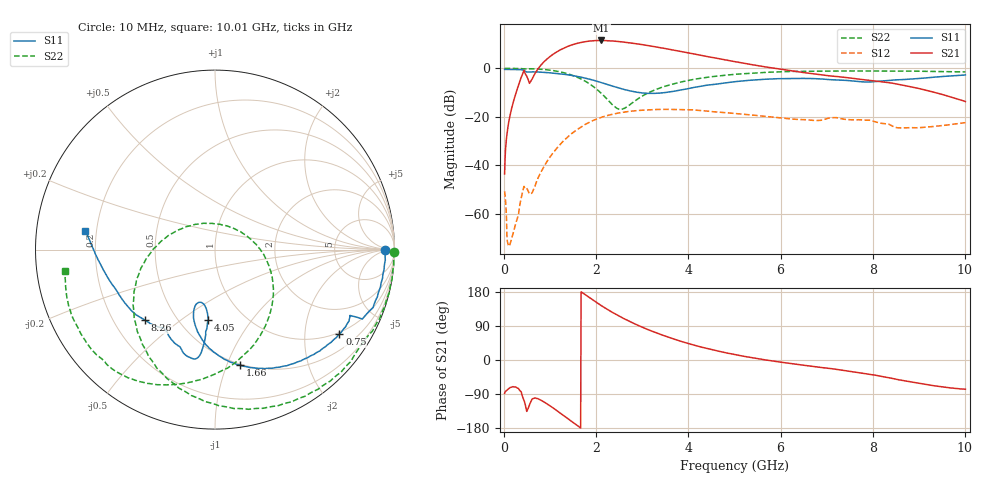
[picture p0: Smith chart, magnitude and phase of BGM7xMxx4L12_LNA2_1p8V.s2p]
! (c) 2014 Infineon Technologies AG
! BGM7xMxx4L12 - Silicon Germanium Quad-Band LTE LNA bank
! 20 May 2014
! Special Application Board
! C1 = L1 = 0 Ohm
! C2 = 100 nF
! Vcc = 1.8V
! RF input and output lines de-embedded
! Port 1 reference plane: LNA input AI (pin 9)
! Port 2 reference plane: LNA output AO (pin 6)
! Network Data:
! Measured BGM7xMxx4L12 device level s-parameters
# GHz S MA R 50
!Freq  MagS11  AngS11  MagS21  AngS21  MagS12  AngS12  MagS22  AngS22
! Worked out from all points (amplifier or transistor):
!   1001 points, 10 MHz to 10.01 GHz, reference 50 ohm
!   highest |S21| = 11.5 dB at 2.11 GHz (marker M1)
!   |S21| within 3 dB of that: 1.313 GHz to 3.394 GHz (2.082 GHz wide, 88.5 % of centre)
!   unconditionally stable (mu >= 1): start of sweep to 126.7 MHz; 133.4 MHz to 186.9 MHz; 192.4 MHz to end of sweep
!   at 1.67 GHz: K = 1.36, MAG = 13.8 dB, |S12| = -24.1 dB
!   at 5.01 GHz: K = 1.27, MAG = 7.6 dB, |S12| = -18.6 dB
!   at 10.01 GHz: K = 3.76, MAG = -4.3 dB, |S12| = -22.4 dB
!   lowest NFmin = 0.66 dB at 2.05 GHz
!   S11 on the Smith chart (normalised r, x): 10 MHz: 39, -3; 750 MHz: 0.95, -2.99; 1.66 GHz: 0.49, -1.12; 4.05 GHz: 0.69, -0.63; 8.26 GHz: 0.33, -0.38; 10.01 GHz: 0.16, +0.07
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0.01  0.9497 -0.2  0.006658 -88.2  0.00294 -60.6  0.9986 -0.7
0.12  0.9478 -6.1  0.0978 -73.5  0.0002255 136.9  0.9986 -8.7
0.39  0.9252 -21.8  0.7196 -93.2  0.002589 -166.4  0.9811 -28.6
0.55  0.8393 -26.0  0.4904 -118.2  0.002578 154.6  0.9809 -39.4
0.75  0.8376 -34.1  1.019 -103.3  0.005903 -164.9  0.9617 -55.2
1.01  0.8047 -45.8  1.791 -122.2  0.01563 -171.9  0.9118 -76.4
1.22  0.7695 -55.7  2.405 -140.2  0.02737 177.0  0.8429 -94.6
1.42  0.7251 -65.7  2.919 -158.1  0.04171 164.6  0.7488 -113.2
1.66  0.6589 -77.8  3.387 -179.2  0.06113 149.2  0.6074 -136.5
1.68  0.6537 -78.8  3.425 179.1  0.06299 148.0  0.5961 -138.6
1.89  0.5842 -88.8  3.663 161.2  0.08099 134.2  0.4515 -161.2
2.11  0.5084 -98.0  3.749 143.3  0.09821 120.3  0.3045 171.3
2.36  0.4283 -105.2  3.655 124.9  0.1138 105.6  0.1743 125.9
2.62  0.3632 -109.1  3.448 107.9  0.1261 92.3  0.1514 55.0
2.99  0.3117 -107.9  3.078 87.0  0.137 76.1  0.2656 -4.0
3.35  0.3076 -102.4  2.7 69.5  0.142 62.8  0.3846 -32.5
4.05  0.3914 -95.6  2.03 41.6  0.1398 42.4  0.5771 -68.6
5.01  0.5308 -96.7  1.371 14.1  0.1176 25.3  0.7518 -100.7
6.68  0.6156 -104.0  0.7768 -16.7  0.08461 21.8  0.8763 -130.1
8.26  0.5534 -134.7  0.5183 -44.6  0.07244 15.1  0.8794 -149.4
8.35  0.563 -138.2  0.5064 -46.7  0.07046 13.7  0.8793 -150.5
10.01  0.7291 171.9  0.2073 -77.2  0.07606 51.2  0.8426 -171.8
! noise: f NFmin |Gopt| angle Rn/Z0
1.8  0.693  0.3805  63.78  0.1573
1.85  0.6717  0.3701  65.18  0.1357
1.9  0.6802  0.3626  66.57  0.139
1.95  0.6717  0.3506  68.18  0.1398
2  0.6635  0.3445  70.44  0.1379
2.05  0.6601  0.3798  74.21  0.1227
2.1  0.6773  0.3639  75.2  0.123
2.2  0.7067  0.3626  81.25  0.1255
2.35  0.7379  0.3554  85.59  0.1195
2.65  0.8124  0.3632  100.1  0.1095
